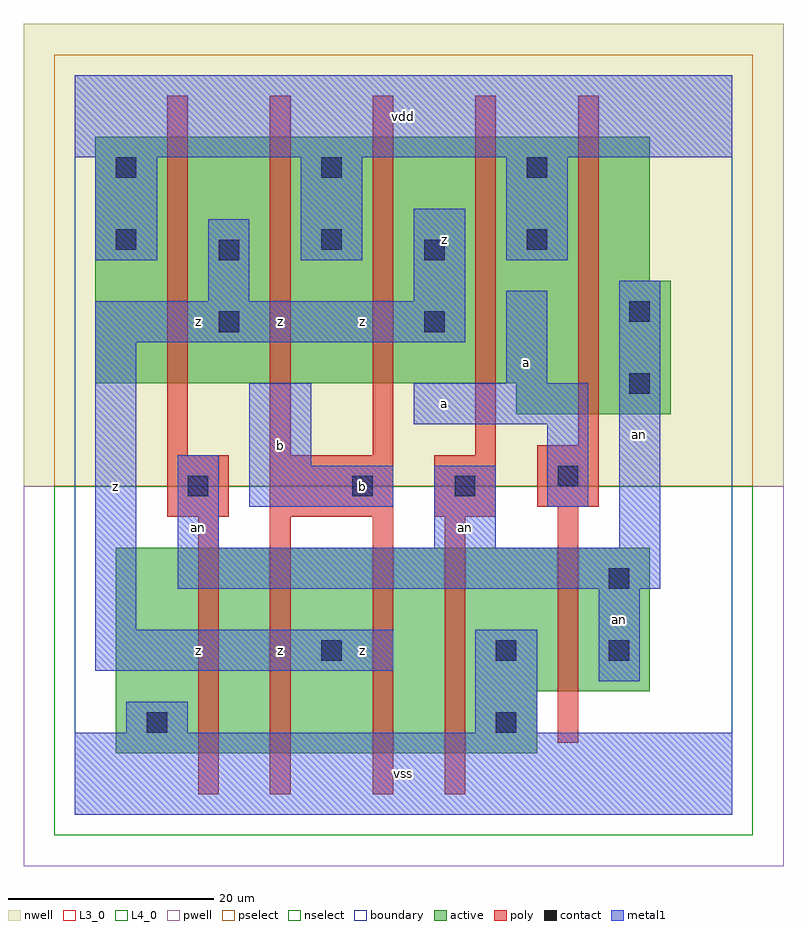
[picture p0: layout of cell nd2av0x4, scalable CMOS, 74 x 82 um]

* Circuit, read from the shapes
.subckt nd2av0x4 a an b vdd vss z
M1 n1 an vss VSUBS nfet w=20u l=2u
M2 z b n1 VSUBS nfet w=20u l=2u
M3 n2 b z VSUBS nfet w=20u l=2u
M4 vss an n2 VSUBS nfet w=20u l=2u
M5 an a vss VSUBS nfet w=14u l=2u
M6 z an vdd n3 pfet w=24u l=2u m=2
M7 vdd b z n3 pfet w=24u l=2u m=2
M8 an a vdd n3 pfet w=27u l=2u
.ends

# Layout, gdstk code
import gdstk
lib = gdstk.Library(unit=1e-6, precision=1e-09)
def R(c, l, rs):  # rectangles x0, y0, x1, y1
    for r in rs: c.add(gdstk.rectangle(r[:2], r[2:], *l))
def A(c, l, x, y, w, h, nx, ny, dx, dy):  # array of equal rectangles
    R(c, l, [(x+i*dx, y+j*dy, x+i*dx+w, y+j*dy+h) for i in range(nx) for j in range(ny)])
L3_0 = (3, 0)
L4_0 = (4, 0)
contact = (25, 0)
pwell = (41, 0)
nwell = (42, 0)
active = (43, 0)
pselect = (44, 0)
nselect = (45, 0)
poly = (46, 0)
metal1 = (49, 0)
boundary = (63, 0)

nd2av0x4 = lib.new_cell('nd2av0x4')
R(nd2av0x4, L3_0, [(4,6,45,12), (4,12,56,26)])
R(nd2av0x4, L4_0, [(43,39,58,42), (2,42,58,52), (2,52,56,66)])
A(nd2av0x4, contact, 4, 55, 2, 2, 3, 2, 20, 7)
R(nd2av0x4, contact, [(7,8,9,10), (41,8,43,10), (24,15,26,17), (41,15,43,17), (52,15,54,17), (52,22,54,24), (11,31,13,33), (27,31,29,33), (37,31,39,33), (47,32,49,34), (54,41,56,43), (14,47,16,49), (34,47,36,49), (54,48,56,50), (14,54,16,56), (34,54,36,56)])
R(nd2av0x4, pwell, [(-5,-5,69,32)])
R(nd2av0x4, nwell, [(-5,32,69,77)])
R(nd2av0x4, active, [(4,6,45,12), (4,12,56,26), (43,39,58,42), (2,42,58,52), (2,52,56,66)])
R(nd2av0x4, pselect, [(-2,32,66,74)])
R(nd2av0x4, nselect, [(-2,-2,66,32)])
A(nd2av0x4, poly, 9, 35, 2, 35, 4, 1, 10, 0)
R(nd2av0x4, poly, [(12,2,14,29), (19,2,21,29), (29,2,31,29), (36,2,38,29), (47,7,49,30), (9,29,15,35), (19,29,31,35), (35,29,41,35), (45,30,51,36), (49,36,51,70)])
A(nd2av0x4, metal1, 2, 54, 6, 10, 3, 1, 20, 0)
R(nd2av0x4, metal1, [(0,0,64,8), (5,8,11,11), (39,8,45,18), (51,13,55,22), (2,14,31,18), (2,18,6,46), (10,22,57,26), (10,26,14,35), (35,26,41,34), (53,26,57,52), (17,30,31,34), (46,30,50,38), (17,34,23,42), (33,38,50,42), (42,42,46,51), (2,46,38,50), (13,50,17,58), (33,50,38,59), (0,64,64,72)])
R(nd2av0x4, boundary, [(0,0,64,72)])
nd2av0x4.add(gdstk.Label('an', (12,28), layer=49, texttype=0))
nd2av0x4.add(gdstk.Label('an', (53,19), layer=49, texttype=0))
nd2av0x4.add(gdstk.Label('an', (38,28), layer=49, texttype=0))
nd2av0x4.add(gdstk.Label('an', (55,37), layer=49, texttype=0))
nd2av0x4.add(gdstk.Label('z', (12,16), layer=49, texttype=0))
nd2av0x4.add(gdstk.Label('z', (4,32), layer=49, texttype=0))
nd2av0x4.add(gdstk.Label('z', (12,48), layer=49, texttype=0))
nd2av0x4.add(gdstk.Label('z', (20,16), layer=49, texttype=0))
nd2av0x4.add(gdstk.Label('z', (28,16), layer=49, texttype=0))
nd2av0x4.add(gdstk.Label('b', (28,32), layer=49, texttype=0))
nd2av0x4.add(gdstk.Label('b', (20,36), layer=49, texttype=0))
nd2av0x4.add(gdstk.Label('z', (20,48), layer=49, texttype=0))
nd2av0x4.add(gdstk.Label('z', (28,48), layer=49, texttype=0))
nd2av0x4.add(gdstk.Label('vss', (32,4), layer=49, texttype=0))
nd2av0x4.add(gdstk.Label('a', (36,40), layer=49, texttype=0))
nd2av0x4.add(gdstk.Label('a', (44,44), layer=49, texttype=0))
nd2av0x4.add(gdstk.Label('z', (36,56), layer=49, texttype=0))
nd2av0x4.add(gdstk.Label('vdd', (32,68), layer=49, texttype=0))

lib.write_gds('nd2av0x4.gds')
